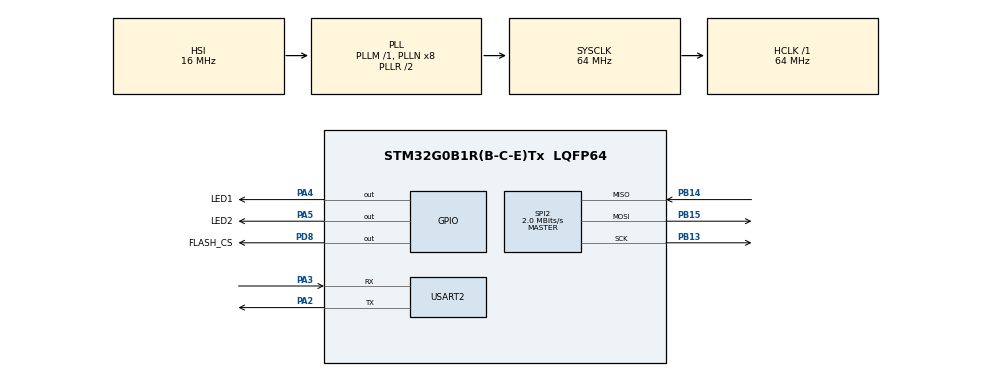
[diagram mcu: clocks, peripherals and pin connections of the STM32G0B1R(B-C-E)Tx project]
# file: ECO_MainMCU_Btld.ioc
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Mcu.Family=STM32G0
Mcu.Name=STM32G0B1R(B-C-E)Tx
Mcu.Package=LQFP64
NVIC.USART2_LPUART2_IRQn=true\:0\:0\:false\:false\:true\:true\:true\:true
PA13.Mode=Serial_Wire
PA13.Signal=SYS_SWDIO
PA14-BOOT0.Mode=Serial_Wire
PA14-BOOT0.Signal=SYS_SWCLK
PA2.Mode=Asynchronous
PA2.Signal=USART2_TX
PA3.Mode=Asynchronous
PA3.Signal=USART2_RX
PA4.GPIO_Label=LED1
PA4.Signal=GPIO_Output
PA5.GPIO_Label=LED2
PA5.Signal=GPIO_Output
PA6.Signal=I2C2_SDA
PA7.Signal=I2C2_SCL
PB13.Mode=Full_Duplex_Master
PB13.Signal=SPI2_SCK
PB14.Mode=Full_Duplex_Master
PB14.Signal=SPI2_MISO
PB15.Mode=Full_Duplex_Master
PB15.Signal=SPI2_MOSI
PC14-OSC32_IN\ (PC14).Mode=LSE-External-Oscillator
PC14-OSC32_IN\ (PC14).Signal=RCC_OSC32_IN
PC15-OSC32_OUT\ (PC15).Mode=LSE-External-Oscillator
PC15-OSC32_OUT\ (PC15).Signal=RCC_OSC32_OUT
PD8.GPIO_Label=FLASH_CS
PD8.Signal=GPIO_Output
ProjectManager.HeapSize=0x200
ProjectManager.StackSize=0x400
ProjectManager.TargetToolchain=Makefile
RCC.ADCFreq_Value=64000000
RCC.AHBFreq_Value=64000000
RCC.CortexFreq_Value=64000000
RCC.EXTERNAL_CLOCK_VALUE=48000
RCC.HCLKFreq_Value=64000000
RCC.HSE_VALUE=8000000
RCC.HSI48_VALUE=48000000
RCC.HSI_VALUE=16000000
RCC.SYSCLKFreq_VALUE=64000000
RCC.SYSCLKSource=RCC_SYSCLKSOURCE_PLLCLK
RCC.USBFreq_Value=48000000
RCC.VCOOutputFreq_Value=128000000
SPI2.BaudRatePrescaler=SPI_BAUDRATEPRESCALER_32
SPI2.CalculateBaudRate=2.0 MBits/s
SPI2.Direction=SPI_DIRECTION_2LINES
SPI2.Mode=SPI_MODE_MASTER
SPI2.VirtualType=VM_MASTER
USART2.SwapParam=ADVFEATURE_SWAP_ENABLE
USART2.VirtualMode-Asynchronous=VM_ASYNC
VP_SYS_VS_DBSignals.Mode=DisableDeadBatterySignals
board=custom

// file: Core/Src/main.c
/* USER CODE BEGIN Header */
/**
  ******************************************************************************
  * @file           : main.c
  * @brief          : Main program body
  ******************************************************************************
  * @attention
  *
  * Copyright (c) 2023 STMicroelectronics.
  * All rights reserved.
  *
  * This software is licensed under terms that can be found in the LICENSE file
  * in the root directory of this software component.
  * If no LICENSE file comes with this software, it is provided AS-IS.
  *
  ******************************************************************************
  */
/* USER CODE END Header */
#include "main.h"
#include "spi.h"
#include "usart.h"
#include "gpio.h"

/* USER CODE BEGIN Includes */
#include "bootutil/bootutil.h"
#include "bootutil/image.h"
#include "logging.h"
#include "mcuboot_config/mcuboot_logging.h"
#include "W25Q64_Flash.h"
/* USER CODE END Includes */

void SystemClock_Config(void);
/* USER CODE BEGIN PFP */
static void do_boot(struct boot_rsp *rsp) {
	EXAMPLE_LOG("Starting Main Application");
	EXAMPLE_LOG("  Image Start Offset: 0x%x", (int)rsp->br_image_off);

  // We run from internal flash. Base address of this medium is 0x0
  uint32_t vector_table = 0x08000000 + rsp->br_image_off + rsp->br_hdr->ih_hdr_size;

  uint32_t *app_code = (uint32_t *)vector_table;
  uint32_t app_sp = app_code[0];
  uint32_t app_start = app_code[1];

    EXAMPLE_LOG("  Vector Table Start Address: 0x%x. PC=0x%x, SP=0x%x",
              (int)vector_table, app_start, app_sp);

	  Logging_Wait();
	  HAL_UART_MspDeInit(&huart2);
	  HAL_SPI_DeInit(&hspi2);
	  HAL_RCC_DeInit();
	  HAL_DeInit();

	  // Reset SysTicka
	  SysTick->CTRL = 0;
	  SysTick->LOAD = 0;
	  SysTick->VAL = 0;

  // We need to move the vector table to reflect the location of the main application
  SCB->VTOR = (vector_table & 0xFFFFFFF8);

  void (*application_reset_handler)(void) = (void *)app_start;
  __set_MSP(app_sp);
  application_reset_handler();
}
/* USER CODE END PFP */

int main(void)
{

  /* MCU Configuration--------------------------------------------------------*/

  /* Reset of all peripherals, Initializes the Flash interface and the Systick. */
  HAL_Init();

  /* Configure the system clock */
  SystemClock_Config();

  /* Initialize all configured peripherals */
  MX_GPIO_Init();
  MX_SPI2_Init();
  MX_USART2_UART_Init();
  /* USER CODE BEGIN 2 */
  Logging_Init();

  EXAMPLE_LOG("\n\n___  ________ _   _ _                 _   \r\n");
  EXAMPLE_LOG("|  \\/  /  __ \\ | | | |               | |  \r\n");
  EXAMPLE_LOG("| .  . | /  \\/ | | | |__   ___   ___ | |_ \r\n");
  EXAMPLE_LOG("| |\\/| | |   | | | | '_ \\ / _ \\ / _ \\| __|\r\n");
  EXAMPLE_LOG("| |  | | \\__/\\ |_| | |_) | (_) | (_) | |_ \r\n");
  EXAMPLE_LOG("\\_|  |_/\\____/\\___/|_.__/ \\___/ \\___/ \\__|\r\n");

  EXAMPLE_LOG("==Starting Bootloader==\r\n");

  if(W25Q64_Init() == HAL_OK)
  {
	  struct boot_rsp rsp;
	  int rv = boot_go(&rsp);

	  if (rv == 0) {
		  do_boot(&rsp);
	  }
      else
      {
        EXAMPLE_LOG("No bootable image found.");
      }
  }
  else
  {
	  EXAMPLE_LOG("Failed to initialize flsah memory");
  }
  /* USER CODE END 2 */

  /* Infinite loop */
  /* USER CODE BEGIN WHILE */
  while (1)
  {
      HAL_GPIO_WritePin(LED2_GPIO_Port, LED2_Pin, 1);
      HAL_Delay(100);
      HAL_GPIO_WritePin(LED2_GPIO_Port, LED2_Pin, 0);
      HAL_Delay(200);
      HAL_GPIO_WritePin(LED2_GPIO_Port, LED2_Pin, 1);
      HAL_Delay(100);
      HAL_GPIO_WritePin(LED2_GPIO_Port, LED2_Pin, 0);
      HAL_Delay(200);
      HAL_GPIO_WritePin(LED2_GPIO_Port, LED2_Pin, 1);
      HAL_Delay(100);
      HAL_GPIO_WritePin(LED2_GPIO_Port, LED2_Pin, 0);
      HAL_Delay(300);
      HAL_GPIO_WritePin(LED2_GPIO_Port, LED2_Pin, 1);
      HAL_Delay(500);
      HAL_GPIO_WritePin(LED2_GPIO_Port, LED2_Pin, 0);
      HAL_Delay(200);
      HAL_GPIO_WritePin(LED2_GPIO_Port, LED2_Pin, 1);
      HAL_Delay(500);
      HAL_GPIO_WritePin(LED2_GPIO_Port, LED2_Pin, 0);
      HAL_Delay(200);
      HAL_GPIO_WritePin(LED2_GPIO_Port, LED2_Pin, 1);
      HAL_Delay(500);
      HAL_GPIO_WritePin(LED2_GPIO_Port, LED2_Pin, 0);
      HAL_Delay(300);
      HAL_GPIO_WritePin(LED2_GPIO_Port, LED2_Pin, 1);
      HAL_Delay(100);
      HAL_GPIO_WritePin(LED2_GPIO_Port, LED2_Pin, 0);
      HAL_Delay(200);
      HAL_GPIO_WritePin(LED2_GPIO_Port, LED2_Pin, 1);
      HAL_Delay(100);
      HAL_GPIO_WritePin(LED2_GPIO_Port, LED2_Pin, 0);
      HAL_Delay(200);
      HAL_GPIO_WritePin(LED2_GPIO_Port, LED2_Pin, 1);
      HAL_Delay(100);
      HAL_GPIO_WritePin(LED2_GPIO_Port, LED2_Pin, 0);
      HAL_Delay(2000);
    /* USER CODE END WHILE */

  }
}

void SystemClock_Config(void)
{
  RCC_OscInitTypeDef RCC_OscInitStruct = {0};
  RCC_ClkInitTypeDef RCC_ClkInitStruct = {0};

  /** Configure the main internal regulator output voltage
  */
  HAL_PWREx_ControlVoltageScaling(PWR_REGULATOR_VOLTAGE_SCALE1);

  /** Initializes the RCC Oscillators according to the specified parameters
  * in the RCC_OscInitTypeDef structure.
  */
  RCC_OscInitStruct.OscillatorType = RCC_OSCILLATORTYPE_HSI;
  RCC_OscInitStruct.HSIState = RCC_HSI_ON;
  RCC_OscInitStruct.HSIDiv = RCC_HSI_DIV1;
  RCC_OscInitStruct.HSICalibrationValue = RCC_HSICALIBRATION_DEFAULT;
  RCC_OscInitStruct.PLL.PLLState = RCC_PLL_ON;
  RCC_OscInitStruct.PLL.PLLSource = RCC_PLLSOURCE_HSI;
  RCC_OscInitStruct.PLL.PLLM = RCC_PLLM_DIV1;
  RCC_OscInitStruct.PLL.PLLN = 8;
  RCC_OscInitStruct.PLL.PLLP = RCC_PLLP_DIV2;
  RCC_OscInitStruct.PLL.PLLQ = RCC_PLLQ_DIV2;
  RCC_OscInitStruct.PLL.PLLR = RCC_PLLR_DIV2;
  if (HAL_RCC_OscConfig(&RCC_OscInitStruct) != HAL_OK)
  {
    Error_Handler();
  }

  /** Initializes the CPU, AHB and APB buses clocks
  */
  RCC_ClkInitStruct.ClockType = RCC_CLOCKTYPE_HCLK|RCC_CLOCKTYPE_SYSCLK
                              |RCC_CLOCKTYPE_PCLK1;
  RCC_ClkInitStruct.SYSCLKSource = RCC_SYSCLKSOURCE_PLLCLK;
  RCC_ClkInitStruct.AHBCLKDivider = RCC_SYSCLK_DIV1;
  RCC_ClkInitStruct.APB1CLKDivider = RCC_HCLK_DIV1;

  if (HAL_RCC_ClockConfig(&RCC_ClkInitStruct, FLASH_LATENCY_2) != HAL_OK)
  {
    Error_Handler();
  }
}

/* USER CODE BEGIN 4 */
void HAL_UART_TxCpltCallback(UART_HandleTypeDef *huart)
{
	if(huart->Instance == huart2.Instance)
	{
		Logging_Callback();
	}
}
/* USER CODE END 4 */

void Error_Handler(void)
{
  __disable_irq();
  while (1)
  {
  }
}
